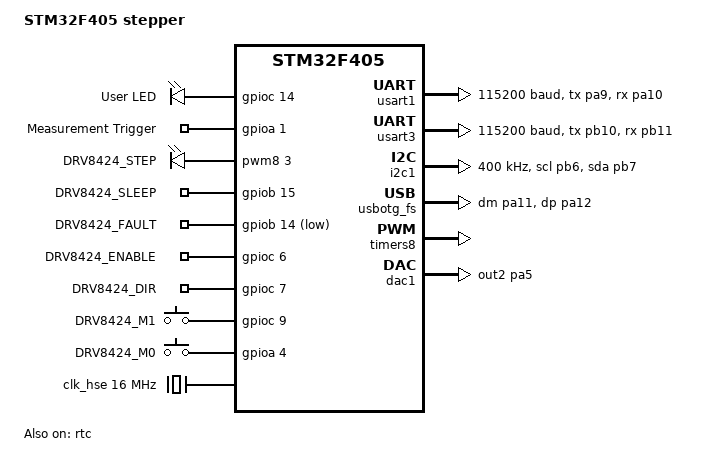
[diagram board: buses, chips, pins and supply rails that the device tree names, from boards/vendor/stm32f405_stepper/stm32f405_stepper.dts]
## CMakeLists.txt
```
#-------------------------------------------------------------------------------
# Zephyr Example Application
#
# Copyright (c) 2021 Nordic Semiconductor ASA
# SPDX-License-Identifier: Apache-2.0
list(APPEND BOARD_ROOT ${CMAKE_CURRENT_SOURCE_DIR})
set(BOARD stm32f405_stepper)

cmake_minimum_required(VERSION 3.13.1)
find_package(Zephyr REQUIRED HINTS $ENV{ZEPHYR_BASE})

project(app LANGUAGES C)

# Add custom driver directory
# add_subdirectory(${CMAKE_CURRENT_SOURCE_DIR}/../drivers/sensor/as5047p build)
# list(APPEND EXTRA_EXTERNAL_MODULE_DIRS ${CMAKE_CURRENT_SOURCE_DIR}/../drivers)
# list(APPEND EXTRA_EXTERNAL_MODULE_DIRS ${CMAKE_CURRENT_SOURCE_DIR}/../lib)

target_sources(app PRIVATE 
    src/main.c
    # add additional source files here
    )
```

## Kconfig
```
# Copyright (c) 2021 Nordic Semiconductor ASA
# SPDX-License-Identifier: Apache-2.0
#
# This file is the application Kconfig entry point. All application Kconfig
# options can be defined here or included via other application Kconfig files.
# You can browse these options using the west targets menuconfig (terminal) or
# guiconfig (GUI).

menu "Zephyr"
source "Kconfig.zephyr"
endmenu

module = APP
module-str = APP
source "subsys/logging/Kconfig.template.log_config"
rsource "../Kconfig"
```

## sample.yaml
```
sample:
  name: Blink LED (PWM based)
tests:
  sample.basic.blink_led:
    filter: dt_alias_exists("pwm-led0") and dt_compat_enabled("pwm-leds")
    integration_platforms:
      - custom
    tags:
      - drivers
      - pwm
    depends_on: pwm
    harness: console
    harness_config:
      type: multi_line
      ordered: true
      regex:
        - "PWM-based blinky"
        - "Calibrating for channel [0-9]+"
        - "Done calibrating; maximum/minimum periods [0-9]+/[0-9]+ nsec"
        - "Using period [0-9]+"
        - "Using period [0-9]+"
```

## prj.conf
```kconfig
# Copyright (c) 2021 Nordic Semiconductor ASA
# SPDX-License-Identifier: Apache-2.0
#
# This file contains selected Kconfig options for the application.


# Enable Logging
CONFIG_LOG=y
CONFIG_SERIAL=y
CONFIG_CONSOLE=y
#CONFIG_UART_CONSOLE=y
# Use the console as the backend for logs
#CONFIG_LOG_BACKEND_UART=y

# Optional: Ensure logs are processed immediately (useful for debugging crashes)
CONFIG_LOG_MODE_IMMEDIATE=y

CONFIG_GPIO=y

# SPI
CONFIG_SPI=y
#CONFIG_SHELL=y
#CONFIG_SPI_SHELL=y
#CONFIG_GPIO_SHELL=y
# SPI configuration for AS5047P

#CONFIG_SPI_ASYNC=n

# Enable AS5047P driver - not needed at the moment
CONFIG_SENSOR=y
# CONFIG_AS5047P=y

# Enable PWM for LED control
CONFIG_PWM=y

# enable floating point logging
CONFIG_CBPRINTF_FP_SUPPORT=y

# Configuration for stepper motor control
CONFIG_PWM_STM32=y


CONFIG_DAC=y
CONFIG_DAC_STM32=y


CONFIG_USB_DEVICE_STACK=y
CONFIG_USB_DEVICE_PRODUCT="Zephyr USB Console"
CONFIG_SERIAL=y
CONFIG_UART_LINE_CTRL=y
CONFIG_USB_CDC_ACM=y
CONFIG_CONSOLE=y
CONFIG_UART_CONSOLE=y
CONFIG_SHELL=y
CONFIG_SHELL_BACKEND_SERIAL=y
# This ensures the shell uses the USB CDC ACM node


CONFIG_USB_DEVICE_VID=0x2FEED
CONFIG_USB_DEVICE_PID=0x0123
CONFIG_USB_DEVICE_MANUFACTURER="Paul"
CONFIG_USB_DEVICE_PRODUCT="STM32F405 Stepper Controller"
```

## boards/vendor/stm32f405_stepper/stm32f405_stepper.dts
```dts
/*
 * Copyright (c) 2026 Paul Reisch
 *
 * SPDX-License-Identifier: Apache-2.0
 */

/dts-v1/;
#include <st/f4/stm32f405Xg.dtsi>
#include <st/f4/stm32f405rgtx-pinctrl.dtsi>
#include "stm32f405_stepper.dtsi"


/ {
	model = "STM32F405 stepper";
	compatible = "st,stm32f405";

	chosen {
		zephyr,console = &usart1;
		zephyr,shell-uart = &usart1;
		zephyr,sram = &sram0;
		zephyr,flash = &flash0;
		zephyr,dtcm = &ccm0;
	};

	leds {
		compatible = "gpio-leds";

		led: led {
			gpios = <&gpioc 14 GPIO_ACTIVE_HIGH>;
			label = "User LED";
		};
		//     as5047p_cs: as5047p_cs {
			//         gpios = <&gpioa 4 GPIO_ACTIVE_LOW>;
			//         label = "AS5047P_CS";
		//     };
	};

	// /* Define the Index Pin as a GPIO for Interrupt use */
	// encoder_index: encoder_index {
		//     compatible = "gpio-keys";
		//     index_pin: index_pin {
			//         gpios = <&gpioa 8 (GPIO_ACTIVE_HIGH | GPIO_PULL_DOWN)>;
			//         label = "Encoder Index";
		//     };
	// };
	trigger_signal {
		compatible = "gpio-keys";
		meas_trigger: meas_trigger {
			gpios = <&gpioa 1 GPIO_ACTIVE_HIGH>;
			label = "Measurement Trigger";
		};
	};

	//    pwm_leds {
		//        compatible = "pwm-leds";
		//        pwm_led0: led_pwm_0 {
			//            pwms = <&pwm2 3 PWM_MSEC(1000) PWM_POLARITY_INVERTED>; // pwmtimer channel_number pwmperiod polarity
			//            label = "Blue PWM LED";
		//        };
	//    };

	drv8424_motor_ctrl: drv8424_motor_ctrl {
		compatible = "pwm-leds";
		status = "okay";
		/* PC8 - Timer 8 Channel 3 */
		drv_step: drv_step {
			pwms = <&pwm8 3 PWM_USEC(100) PWM_POLARITY_NORMAL>;
			label = "DRV8424_STEP";
		};
	};

	drv8424_signals {
		compatible = "gpio-keys";
		drv_sleep: drv_sleep {
			gpios = <&gpiob 15 GPIO_ACTIVE_HIGH>;
			label = "DRV8424_SLEEP";
		};
		drv_fault: drv_fault {
			gpios = <&gpiob 14 (GPIO_ACTIVE_LOW | GPIO_PULL_UP)>;
			label = "DRV8424_FAULT";
		};
		drv_enable: drv_enable {
			gpios = <&gpioc 6 GPIO_ACTIVE_HIGH>;
			label = "DRV8424_ENABLE";
		};

		drv_dir: drv_dir {
			gpios = <&gpioc 7 GPIO_ACTIVE_HIGH>;
			label = "DRV8424_DIR";
		};

		drv_mode1: drv_mode1 {
			gpios = <&gpioc 9 GPIO_ACTIVE_HIGH>;
			label = "DRV8424_M1";
		};

		/* M0 is on a DAC pin (usually PA4 or PA5 on F405) */
		/* Replace 'gpioa 4' with the actual pin used if different */
		drv_mode0: drv_mode0 {
			gpios = <&gpioa 4 GPIO_ACTIVE_HIGH>;
			label = "DRV8424_M0";
		};
	};

	aliases {
		led0 = &led;
	};
};

&clk_lsi {
	status = "okay";
};

&clk_hse {
	clock-frequency = <DT_FREQ_M(16)>;
	status = "okay";
};

&pll {
	div-m = <8>;
	mul-n = <168>;
	div-p = <2>;
	div-q = <7>;
	clocks = <&clk_hse>;
	status = "okay";
};

&rcc {
	clocks = <&pll>;
	clock-frequency = <DT_FREQ_M(168)>;
	ahb-prescaler = <1>;
	apb1-prescaler = <4>;
	apb2-prescaler = <2>;
};

&usart1 {
	pinctrl-0 = <&usart1_tx_pa9 &usart1_rx_pa10>;
	pinctrl-names = "default";
	current-speed = <115200>;
	status = "okay";
};

&usart3 {
	pinctrl-0 = <&usart3_tx_pb10 &usart3_rx_pb11>;
	pinctrl-names = "default";
	current-speed = <115200>;
	status = "okay";
};

&i2c1 {
	pinctrl-0 = <&i2c1_scl_pb6 &i2c1_sda_pb7>;
	pinctrl-names = "default";
	status = "okay";
	clock-frequency = <I2C_BITRATE_FAST>;
};

//&spi1_nss_pa15 {
	//    slew-rate = "very-high-speed";
//};

//&spi1 {
	//    status = "okay";
	//    pinctrl-0 = <&spi1_sck_pa5 &spi1_miso_pa6 &spi1_mosi_pa7>;
	//    pinctrl-names = "default";
	//    // cs-gpios = <&gpioa 4 GPIO_ACTIVE_LOW>; CS was not toggled
	//    // keep this for later testing if i want to make a driver package for the this sensor else delete it at the end.
	//    // as5047p@0 {
		//        //     status = "okay";
		//        //     compatible = "ams,as5047p";
		//        //     reg = <0>;
		//        //     spi-max-frequency = <10000000>;
	//    // };
//};
//
//&spi2 {
	//    pinctrl-0 = <&spi2_sck_pb13 &spi2_miso_pb14 &spi2_mosi_pb15>;
	//    pinctrl-names = "default";
	//    status = "okay";
//};

&rtc {
	clocks = <&rcc STM32_CLOCK(APB1, 28)>,
			 <&rcc STM32_SRC_LSI RTC_SEL(2)>;
	status = "okay";
};

zephyr_udc0: &usbotg_fs {
	pinctrl-0 = <&usb_otg_fs_dm_pa11 &usb_otg_fs_dp_pa12>;
	pinctrl-names = "default";
	status = "okay";
};


&pinctrl {
	tim8_ch3_pc8: tim8_ch3_pc8 {
		pinmux = <STM32_PINMUX('C', 8, AF3)>;
		drive-push-pull;
	};
};

&timers8 {
	status = "okay";
	st,prescaler = <64>; /* Divide the timer clock by 4 or higher */
	pwm8: pwm {
		status = "okay";
		pinctrl-0 = <&tim8_ch3_pc8>;
		pinctrl-names = "default";
	};
};


&dac1 {
	status = "okay";
	pinctrl-0 = <&dac_out2_pa5>;
	pinctrl-names = "default";
};

&pinctrl {
	dac_out2_pa5: dac_out2_pa5 {
		pinmux = <STM32_PINMUX('A', 5, ANALOG)>;
	};
};


&zephyr_udc0 {
	cdc_acm_uart0: cdc_acm_uart0 {
		compatible = "zephyr,cdc-acm-uart";
	};
};
```

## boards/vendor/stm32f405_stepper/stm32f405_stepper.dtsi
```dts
/*
 * Copyright (c) 2026 Paul Reisch
 *
 * SPDX-License-Identifier: Apache-2.0
 */
```

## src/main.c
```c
/*
 * Copyright (c) 2025
 *
 * SPDX-License-Identifier: Apache-2.0
 */

/**
 * @file Sample app to demonstrate AS5047P magnetic encoder driver.
 */

#include <zephyr/kernel.h>
#include <zephyr/sys/printk.h>
#include <zephyr/device.h>
#include <zephyr/drivers/pwm.h>
#include <zephyr/dt-bindings/pwm/pwm.h>
#include <zephyr/logging/log.h>

#include <zephyr/drivers/spi.h>

#include <zephyr/drivers/sensor.h>

#include <zephyr/drivers/gpio.h>
#include <zephyr/drivers/dac.h>

// USB CDC ACM for console output
#include <zephyr/usb/usb_device.h>
#include <zephyr/drivers/uart.h>

// Shell for interactive commands (optional)
#include <zephyr/shell/shell.h>

LOG_MODULE_REGISTER(app, LOG_LEVEL_INF);

// LED Stuff
#define SLEEP_TIME_MS 1000
#define GPIO_LED_THREAD_STACK_SIZE 1024
#define GPIO_LED_THREAD_PRIORITY 3
#define LED0_NODE DT_ALIAS(led0)
static const struct gpio_dt_spec led = GPIO_DT_SPEC_GET(LED0_NODE, gpios);

// Motor control stuff
static const struct gpio_dt_spec enable_pin = GPIO_DT_SPEC_GET(DT_NODELABEL(drv_enable), gpios);
static const struct gpio_dt_spec dir_pin = GPIO_DT_SPEC_GET(DT_NODELABEL(drv_dir), gpios);
static const struct gpio_dt_spec mode1_pin = GPIO_DT_SPEC_GET(DT_NODELABEL(drv_mode1), gpios);
static const struct gpio_dt_spec mode0_pin = GPIO_DT_SPEC_GET(DT_NODELABEL(drv_mode0), gpios);

static const struct pwm_dt_spec step_pwm = PWM_DT_SPEC_GET(DT_NODELABEL(drv_step));

void init_motor_driver(void)
{
	/* Configure GPIOs as output */

	gpio_pin_configure_dt(&enable_pin, GPIO_OUTPUT_INACTIVE); /* nENABLE is active LOW, so we set it to LOW to enable the driver */
	gpio_pin_configure_dt(&dir_pin, GPIO_OUTPUT_INACTIVE);

	/* Set M1 to High Impedance by configuring it as an Input */
	/* Ensure no internal pull-up/pull-down is active to allow true Hi-Z */
	gpio_pin_configure_dt(&mode1_pin, GPIO_INPUT);
	/* M0 must be High for 1/128 mode when M1 is Hi-Z */
	gpio_pin_configure_dt(&mode0_pin, GPIO_INPUT);
	gpio_pin_configure_dt(&mode0_pin, GPIO_OUTPUT_ACTIVE);

	/* Both M0 and M1 are now High, setting 1/16 microstepping */
}

void set_motor_speed(uint32_t frequency_hz)
{
	if (frequency_hz == 0)
	{
		pwm_set_pulse_dt(&step_pwm, 0);
		return;
	}

	uint32_t period_ns = 1000000000ULL / frequency_hz;
	uint32_t pulse_ns = period_ns / 2;

	pwm_set_dt(&step_pwm, period_ns, pulse_ns);
}

#define TARGET_FREQ 25600 /* 1 RPS */

#define START_FREQ 100	  /* Start at 100 Hz instead of 500+ Hz */
#define RAMP_DURATION 500 /* 500ms ramp instead of 100ms */
#define RAMP_STEPS 100	  /* More granular steps */

#define TOTAL_STEPS 51200
#define RAMP_STEPS_COUNT 100
#define STEP_INTERVAL_MS 5

void move_exact_rotations(uint32_t target_hz)
{
	uint32_t steps_taken = 0;
	uint32_t current_hz = START_FREQ;
	uint32_t ramp_inc = (target_hz - START_FREQ) / RAMP_STEPS_COUNT;

	/* 1. Ramp Up */
	for (int i = 0; i < RAMP_STEPS_COUNT; i++)
	{
		set_motor_speed(current_hz);
		/* Estimate steps: freq * time_in_seconds */
		steps_taken += (current_hz * STEP_INTERVAL_MS) / 1000;
		current_hz += ramp_inc;
		k_msleep(STEP_INTERVAL_MS);
	}

	/* 2. Constant Speed */
	set_motor_speed(target_hz);
	/* Calculate remaining steps needed */
	/* We subtract the ramp down steps too (which equal ramp up steps) */
	uint32_t ramp_up_steps = steps_taken;
	int32_t remaining_steps = TOTAL_STEPS - (ramp_up_steps * 2);

	if (remaining_steps > 0)
	{
		uint32_t constant_time_ms = (remaining_steps * 1000) / target_hz;
		k_msleep(constant_time_ms);
	}

	/* 3. Ramp Down */
	for (int i = 0; i < RAMP_STEPS_COUNT; i++)
	{
		current_hz -= ramp_inc;
		set_motor_speed(current_hz);
		k_msleep(STEP_INTERVAL_MS);
	}

	set_motor_speed(0);
}

// DAC Stuff
static const struct device *dac_dev = DEVICE_DT_GET(DT_NODELABEL(dac1));

/* Configuration for the two DAC channels */
// static const struct dac_channel_cfg dac_ch1_cfg = {
// 	.channel_id = 1,
// 	.resolution = 12};
static const struct dac_channel_cfg dac_ch2_cfg = {
	.channel_id = 2,
	.resolution = 12};

void set_motor_current(uint16_t vref_mv)
{
	/* STM32 DAC is 12-bit (0-4095). Assuming VDD is 3.3V (3300mV) */
	uint32_t dac_value = (vref_mv * 4095) / 3300;

	// dac_write_value(dac_dev, 1, dac_value);
	dac_write_value(dac_dev, 2, dac_value);
}

// DRV Control Pins
static const struct gpio_dt_spec sleep_spec = GPIO_DT_SPEC_GET(DT_NODELABEL(drv_sleep), gpios);
static const struct gpio_dt_spec fault_spec = GPIO_DT_SPEC_GET(DT_NODELABEL(drv_fault), gpios);
/* Callback structure for fault interrupts */
static struct gpio_callback fault_cb_data;

void fault_handler(const struct device *port, struct gpio_callback *cb, uint32_t pins)
{
	/* Handle driver fault (e.g., stop PWM, log error) */
	printk("DRV8424 Fault Detected!\n");
}

static const struct gpio_dt_spec meas_trigger = GPIO_DT_SPEC_GET(DT_NODELABEL(meas_trigger), gpios);

// LED Blinking Thread
void gpio_led_thread_entry(void *p1, void *p2, void *p3)
{
	int ret;
	bool led_state = true;

	if (!gpio_is_ready_dt(&led))
	{
		return;
	}

	ret = gpio_pin_configure_dt(&led, GPIO_OUTPUT_ACTIVE);
	if (ret < 0)
	{
		return;
	}

	while (1)
	{
		ret = gpio_pin_toggle_dt(&led);
		if (ret < 0)
		{
			return;
		}

		led_state = !led_state;
		printf("LED state: %s\n", led_state ? "ON" : "OFF");
		k_msleep(SLEEP_TIME_MS);
		/* Thread sleeps, yielding to high-prio sensor tasks */
	}
}
/* Define the low-priority thread */
// K_THREAD_DEFINE(gpio_led_tid, GPIO_LED_THREAD_STACK_SIZE,
// 				gpio_led_thread_entry, NULL, NULL, NULL,
//				GPIO_LED_THREAD_PRIORITY, 0, 0);

// Shell command to manually trigger the process (for testing)
static int cmd_trigger_start(const struct shell *sh, size_t argc, char **argv)
{
	shell_print(sh, "Trigger received. Starting process...");
	gpio_pin_configure_dt(&enable_pin, GPIO_OUTPUT_ACTIVE);

	/* Requirement: Set PA0 HIGH before starting */
	gpio_pin_configure_dt(&meas_trigger, GPIO_OUTPUT_ACTIVE);

	/* Start motor at 1000 Hz (1000 steps per second) */
	// set_motor_speed(25600);

	/* Test sequence: continuous half-stepping only */

	int fault_active = gpio_pin_get_dt(&fault_spec);
	if (fault_active)
	{
		printk("Fault detected, stopping motor\n");
		return -1;
	}
	printk("Sending Trigger...\n");
	gpio_pin_set_dt(&meas_trigger, 1);
	k_msleep(10); /* Brief stabilization delay */
	/* Forward 2 Rotations (Approx 2 seconds total) */
	gpio_pin_set_dt(&dir_pin, 1);
	move_exact_rotations(TARGET_FREQ);

	k_msleep(50); /* Pause at end of motion */

	/* Reverse 2 Rotations */
	gpio_pin_set_dt(&dir_pin, 0);
	move_exact_rotations(TARGET_FREQ);

	k_msleep(10);

	gpio_pin_set_dt(&meas_trigger, GPIO_OUTPUT_INACTIVE);
	gpio_pin_configure_dt(&enable_pin, GPIO_OUTPUT_INACTIVE);

	k_msleep(100); /* Brief stabilization delay */

	return 0;
}

/* Register the command "start_process" */
SHELL_CMD_REGISTER(start_process, NULL, "Manually trigger the process", cmd_trigger_start);

int main(void)
{
	printk("Starting DRV8424 Stepper Motor Control Application\n");

	// Use USB CDC ACM for console output
	const struct device *dev = DEVICE_DT_GET(DT_CHOSEN(zephyr_console));
	uint32_t dtr = 0;

	if (usb_enable(NULL))
	{
		return 0;
	}

	/* Optional: Wait for a terminal connection */
	while (!dtr)
	{
		uart_line_ctrl_get(dev, UART_LINE_CTRL_DTR, &dtr);
		k_sleep(K_MSEC(100));
	}

	/* Initialize PWM pins to 0% duty cycle (off) to prevent unwanted motor movement */
	pwm_set_pulse_dt(&step_pwm, 0);

	init_motor_driver();
	// /* Example: Run Motor A as DC at 50% Duty Cycle */
	// set_dc_motor(&drv_ain1, &drv_ain2, drv_ain1.period / 2);

	// /* Example: Run Motor B as DC at 25% Duty Cycle */
	// set_dc_motor(&drv_bin1, &drv_bin2, drv_bin1.period / 4);

	if (!device_is_ready(dac_dev))
	{
		printk("DAC device not ready\n");
		return 0;
	}

	dac_channel_setup(dac_dev, &dac_ch2_cfg);

	set_motor_current(2500); /* Set motor currents to ~2.5V/1.32 = 1900mA */

	if (!gpio_is_ready_dt(&sleep_spec) || !gpio_is_ready_dt(&fault_spec))
	{
		printk("GPIO devices not ready\n");
		return 0;
	}

	/* Configure Pins */
	gpio_pin_configure_dt(&sleep_spec, GPIO_OUTPUT_ACTIVE);
	gpio_pin_configure_dt(&fault_spec, GPIO_INPUT);

	/* Setup Interrupt for nFAULT */
	gpio_pin_interrupt_configure_dt(&fault_spec, GPIO_INT_EDGE_TO_ACTIVE);
	gpio_init_callback(&fault_cb_data, fault_handler, BIT(fault_spec.pin));
	gpio_add_callback(fault_spec.port, &fault_cb_data);

	k_msleep(500); /* Short delay to ensure everything is initialized */
	/* Wake up the driver (nSLEEP High) */
	gpio_pin_set_dt(&sleep_spec, 1);

	/* Wait for device wakeup time (approx 1ms) */
	k_msleep(1);

	printk("System Ready! LED should be blinking\n");

	while (1)
	{
		/* Main loop can be used for background tasks or remain idle */
		k_msleep(5000);
		// printk("Main loop heartbeat...\n");
	}

	return 0;
}
```

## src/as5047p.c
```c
#include "as5047p.h"
#include <zephyr/kernel.h>

struct as5047p_reg_map
{
    uint16_t addr;
    const char *name;
};

static const struct as5047p_reg_map reg_list[] = {
    {AS5047P_REG_ERRFL, "ERRFL"},
    {AS5047P_REG_SETTINGS1, "SETTINGS1"},
    {AS5047P_REG_SETTINGS2, "SETTINGS2"},
    {AS5047P_REG_ABIBIN, "ABIBIN"},
    {AS5047P_REG_ABIRES, "ABIRES"},
    {AS5047P_REG_ZPOSM, "ZPOSM"},
    {AS5047P_REG_ZPOSL, "ZPOSL"},
    {AS5047P_REG_SETTINGS3, "SETTINGS3"},
    {AS5047P_REG_PROGOPT, "PROGOPT"},
    {AS5047P_REG_DIAAGC, "DIAAGC"},
    {AS5047P_REG_MAG, "MAG"},
    {AS5047P_REG_ANGLEUNC, "ANGLEUNC"},
    {AS5047P_REG_ANGLECOM, "ANGLECOM"}};

static uint16_t add_parity(uint16_t command)
{
    uint16_t count = 0;
    uint16_t temp = command;
    for (int i = 0; i < 16; i++)
    {
        if (temp & 0x1)
            count++;
        temp >>= 1;
    }
    return (count % 2 != 0) ? (command | 0x8000) : command;
}

uint16_t as5047p_read_reg(const struct device *spi_dev,
                          const struct spi_config *cfg,
                          const struct gpio_dt_spec *cs,
                          uint16_t reg)
{
    uint16_t command = add_parity(AS5047P_CMD_READ | (reg & 0x3FFF));
    uint8_t tx_data[2] = {(uint8_t)(command >> 8), (uint8_t)(command & 0xFF)};
    uint8_t tx_nop[2] = {0xC0, 0x00};
    uint8_t rx_buf[2];

    struct spi_buf tx = {.buf = tx_data, .len = 2};
    struct spi_buf_set tx_s = {.buffers = &tx, .count = 1};
    struct spi_buf rx = {.buf = rx_buf, .len = 2};
    struct spi_buf_set rx_s = {.buffers = &rx, .count = 1};

    /* Frame 1: Send Command */
    gpio_pin_set_dt(cs, 1);
    k_busy_wait(1);
    spi_transceive(spi_dev, cfg, &tx_s, &rx_s);
    gpio_pin_set_dt(cs, 0);

    k_busy_wait(1);

    /* Frame 2: Get Data */
    tx.buf = tx_nop;
    gpio_pin_set_dt(cs, 1);
    k_busy_wait(1);
    spi_transceive(spi_dev, cfg, &tx_s, &rx_s);
    gpio_pin_set_dt(cs, 0);

    return ((uint16_t)rx_buf[0] << 8) | rx_buf[1];
}

float as5047p_get_angle_degrees(const struct device *spi_dev,
                                const struct spi_config *cfg,
                                const struct gpio_dt_spec *cs)
{
    /* Read the ANGLECOM register (0x3FFE) */
    uint16_t raw_val = as5047p_read_reg(spi_dev, cfg, cs, AS5047P_REG_ANGLECOM);

    /* * Mask out bits 14 (Error Flag) and 15 (Parity)
     * 0x3FFF = 0011 1111 1111 1111
     */
    uint16_t angle_data = raw_val & 0x3FFF;

    /* * Convert 14-bit value to degrees:
     * Resolution = 360.0 / 2^14 = 360.0 / 16384
     */
    float degrees = (float)angle_data * (360.0f / 16384.0f);

    return degrees;
}

int as5047p_write_reg(const struct device *spi_dev,
                      const struct spi_config *cfg,
                      const struct gpio_dt_spec *cs,
                      uint16_t reg,
                      uint16_t data)
{
    /* 1. Prepare Command Frame (Write bit is 0 at bit 14) */
    uint16_t command = add_parity(reg & 0x3FFF);
    uint8_t cmd_buf[2] = {(uint8_t)(command >> 8), (uint8_t)(command & 0xFF)};

    /* 2. Prepare Data Frame (Data bits 0:13) */
    uint16_t data_frame = add_parity(data & 0x3FFF);
    uint8_t data_buf[2] = {(uint8_t)(data_frame >> 8), (uint8_t)(data_frame & 0xFF)};

    struct spi_buf tx_cmd = {.buf = cmd_buf, .len = 2};
    struct spi_buf tx_data = {.buf = data_buf, .len = 2};

    struct spi_buf_set tx_cmd_s = {.buffers = &tx_cmd, .count = 1};
    struct spi_buf_set tx_data_s = {.buffers = &tx_data, .count = 1};

    /* Frame 1: Send Address/Write Command */
    gpio_pin_set_dt(cs, 1);
    k_busy_wait(1);
    int ret = spi_write(spi_dev, cfg, &tx_cmd_s);
    gpio_pin_set_dt(cs, 0);

    if (ret)
        return ret;

    /* Mandatory tCSn delay */
    k_busy_wait(1);

    /* Frame 2: Send Data */
    gpio_pin_set_dt(cs, 1);
    k_busy_wait(1);
    ret = spi_write(spi_dev, cfg, &tx_data_s);
    gpio_pin_set_dt(cs, 0);

    return ret;
}

void as5047p_dump_registers(const struct device *spi_dev,
                            const struct spi_config *cfg,
                            const struct gpio_dt_spec *cs)
{
    printk("\n--- AS5047P Register Dump ---\n");
    printk("%-12s | %-6s | %-6s\n", "Register", "Addr", "Value");
    printk("------------------------------\n");

    for (int i = 0; i < ARRAY_SIZE(reg_list); i++)
    {
        uint16_t value = as5047p_read_reg(spi_dev, cfg, cs, reg_list[i].addr);

        /* The data is in the lower 14 bits (0-13) */
        uint16_t data = value & 0x3FFF;
        uint8_t error = (value & 0x4000) >> 14;

        printk("%-12s | 0x%04X | 0x%04X %s\n",
               reg_list[i].name,
               reg_list[i].addr,
               data,
               error ? "(ERR)" : "");
    }
    printk("------------------------------\n\n");
}

int as5047p_set_abi_4096(const struct device *spi_dev,
                         const struct spi_config *cfg,
                         const struct gpio_dt_spec *cs)
{
    int ret;

    /* Set SETTINGS1 to 0x0021 (Factory bit = 1, ABIBIN = 1) */
    ret = as5047p_write_reg(spi_dev, cfg, cs, AS5047P_REG_SETTINGS1, 0x0021);
    if (ret)
    {
        return ret;
    }

    /* Set SETTINGS2 to 0x0000 (ABIRES = 000) */
    /* This selects 4096 Steps / 1024 Pulses when ABIBIN is 1 */
    ret = as5047p_write_reg(spi_dev, cfg, cs, AS5047P_REG_SETTINGS2, 0x0000);

    return ret;
}
```

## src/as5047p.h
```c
#ifndef AS5047P_H
#define AS5047P_H

#include <zephyr/types.h>
#include <zephyr/drivers/spi.h>
#include <zephyr/drivers/gpio.h>

#include <zephyr/drivers/sensor.h>


/* AS5047P Register Addresses */
#define AS5047P_REG_ERRFL 0x0001
#define AS5047P_REG_SETTINGS1 0x0018
#define AS5047P_REG_SETTINGS2 0x0019
#define AS5047P_REG_MAG 0x3FFD
#define AS5047P_REG_DIAAGC 0x3FFC
#define AS5047P_REG_ANGLEUNC 0x3FFE
#define AS5047P_REG_ANGLECOM 0x3FFF
#define AS5047P_REG_ABIBIN 0x001A
#define AS5047P_REG_ABIRES 0x001B
#define AS5047P_REG_ZPOSM 0x001C
#define AS5047P_REG_ZPOSL 0x001D
#define AS5047P_REG_SETTINGS3 0x001E
#define AS5047P_REG_PROGOPT 0x001F

/* Custom sensor channels */
#define AS5047P_CHAN_RAW SENSOR_CHAN_PRIV_START
#define AS5047P_CHAN_MAGNITUDE (SENSOR_CHAN_PRIV_START + 1)
#define AS5047P_CHAN_AMPLITUDE (SENSOR_CHAN_PRIV_START + 2)

/* SETTINGS1 Register Bit Fields */
#define AS5047P_SETTINGS1_UVW_POS 0xC000 /* UVW_AB selection */
#define AS5047P_SETTINGS1_PWM_ON 0x2000  /* PWM output enable */
#define AS5047P_SETTINGS1_DAECDIS 0x1000 /* Dynamic angle error compensation disable */
#define AS5047P_SETTINGS1_SPITH 0x0F00   /* SPI threshold */
#define AS5047P_SETTINGS1_DIR 0x0080     /* Direction */
#define AS5047P_SETTINGS1_HYST 0x0030    /* Hysteresis */
#define AS5047P_SETTINGS1_ABIRES 0x0003  /* ABI resolution */

/* SETTINGS2 Register Bit Fields */
#define AS5047P_SETTINGS2_UVW_ABI 0x2000 /* UVW_ABI selection */
#define AS5047P_SETTINGS2_DCT 0x1000     /* Fast mode */
#define AS5047P_SETTINGS2_SDA 0x0800     /* SDA enable */
#define AS5047P_SETTINGS2_PWMF 0x0400    /* PWM frequency */
#define AS5047P_SETTINGS2_DAE 0x0200     /* Dynamic angle error compensation */
#define AS5047P_SETTINGS2_WD 0x0100      /* Watchdog */
#define AS5047P_SETTINGS2_TPOLE 0x00C0   /* Turn-on programming */
#define AS5047P_SETTINGS2_PWMMOD 0x0038  /* PWM modulation */
#define AS5047P_SETTINGS2_OTP_EN 0x0007  /* OTP programming enable */

/* DIAAGC Register Bit Fields */
#define AS5047P_DIAAGC_OCF 0x8000       /* Offset compensation finished */
#define AS5047P_DIAAGC_COF 0x4000       /* Cordic overflow */
#define AS5047P_DIAAGC_COMP_LOW 0x2000  /* Compensation low */
#define AS5047P_DIAAGC_COMP_HIGH 0x1000 /* Compensation high */
#define AS5047P_DIAAGC_MAGL 0x0800      /* Magnetic field strength low */
#define AS5047P_DIAAGC_MAGH 0x0400      /* Magnetic field strength high */
#define AS5047P_DIAAGC_AGC 0x00FF       /* Automatic gain control */

/* Error flag definitions */
#define AS5047P_ERR_FIELD_TOO_LOW 0x08      /* Magnetic field too weak */
#define AS5047P_ERR_FIELD_TOO_HIGH 0x04     /* Magnetic field too strong */
#define AS5047P_ERR_CORDIC_OVERFLOW 0x10    /* Cordic overflow */
#define AS5047P_ERR_OFFSET_IN_PROGRESS 0x80 /* Offset compensation in progress */

/* SPI Command Bits */
#define AS5047P_CMD_READ 0x4000
#define AS5047P_CMD_WRITE 0x0000
#define AS5047P_CMD_PARITY_MASK 0x8000

#define AS5047P_MAX_SPI_FREQ 10000000 /* 10 MHz max */
#define AS5047P_POWER_UP_DELAY_MS 10  /* Power-up stabilization delay */

/* Function Prototypes */
uint16_t as5047p_read_reg(const struct device *spi_dev,
                        const struct spi_config *cfg,
                        const struct gpio_dt_spec *cs,  
                        uint16_t reg);

float as5047p_get_angle_degrees(const struct device *spi_dev,
                            const struct spi_config *cfg,
                            const struct gpio_dt_spec *cs);

int as5047p_write_reg(const struct device *spi_dev,
                      const struct spi_config *cfg,
                      const struct gpio_dt_spec *cs,
                      uint16_t reg,
                      uint16_t data);

int as5047p_set_abi_4096(const struct device *spi_dev, 
                         const struct spi_config *cfg,
                         const struct gpio_dt_spec *cs);

void as5047p_dump_registers(const struct device *spi_dev,
                            const struct spi_config *cfg,
                            const struct gpio_dt_spec *cs);

#endif /* AS5047P_H */
```
